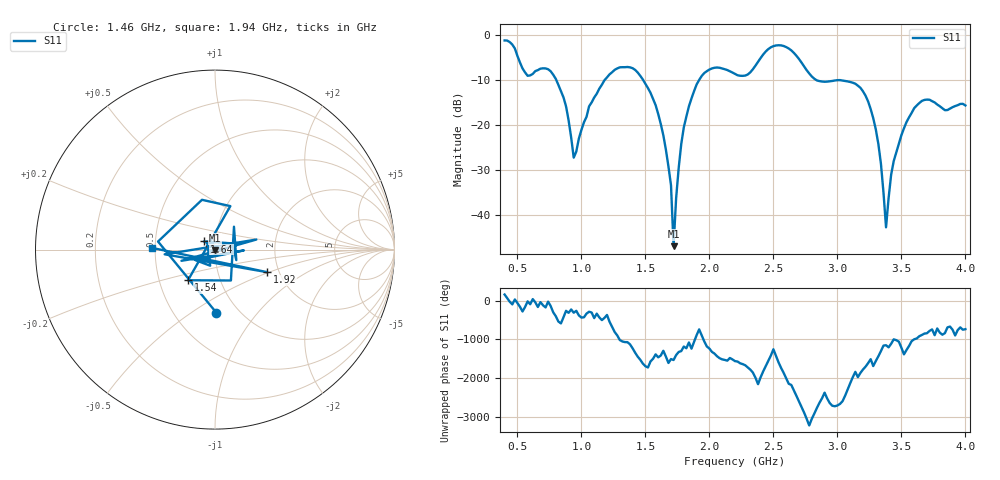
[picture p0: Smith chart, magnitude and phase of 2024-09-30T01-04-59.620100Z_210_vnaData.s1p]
!Created with skrf (http://scikit-rf.org).
# Hz S RI R 50.0
!freq ReS11 ImS11
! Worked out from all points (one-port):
!   181 points, 400 MHz to 4 GHz, reference 50 ohm
!   lowest |S11| = -47.0 dB at 1.72 GHz (marker M1), VSWR 1.01, Z = 50 - j0.443 ohm
!   |S11| at or under -10 dB: 803.7 MHz to 1.182 GHz (378.1 MHz wide, 38.1 % of centre); 1.482 GHz to 1.92 GHz (437.2 MHz wide, 25.7 % of centre); 2.835 GHz to end of sweep
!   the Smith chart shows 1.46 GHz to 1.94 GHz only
!   S11 on the Smith chart (normalised r, x): 1.46 GHz: 0.79, -0.63; 1.54 GHz: 0.70, -0.25; 1.64 GHz: 0.88, +0.08; 1.92 GHz: 1.73, -0.49; 1.94 GHz: 0.48, +0.01
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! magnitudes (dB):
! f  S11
! 400 MHz  -1.2
! 580 MHz  -9.1
! 760 MHz  -8.1
! 860 MHz  -13.9
! 940 MHz  -27.3
! 1.06 GHz  -15.9
! 1.3 GHz  -7.2
! 1.46 GHz  -9.1
! 1.54 GHz  -12.9
! 1.64 GHz  -22.3
! 1.7 GHz  -33.4
! 1.72 GHz  -47.0
! 1.76 GHz  -29.6
! 1.8 GHz  -20.6
! 1.92 GHz  -10.0
! 1.94 GHz  -9.1
! 2.2 GHz  -8.6
! 2.5 GHz  -2.5
! 2.66 GHz  -4.0
! 2.84 GHz  -10.1
! 3.1 GHz  -10.4
! 3.28 GHz  -18.5
! 3.34 GHz  -28.6
! 3.38 GHz  -42.8
! 3.44 GHz  -28.1
! 3.56 GHz  -18.3
! 3.68 GHz  -14.4
! 4 GHz  -15.7
